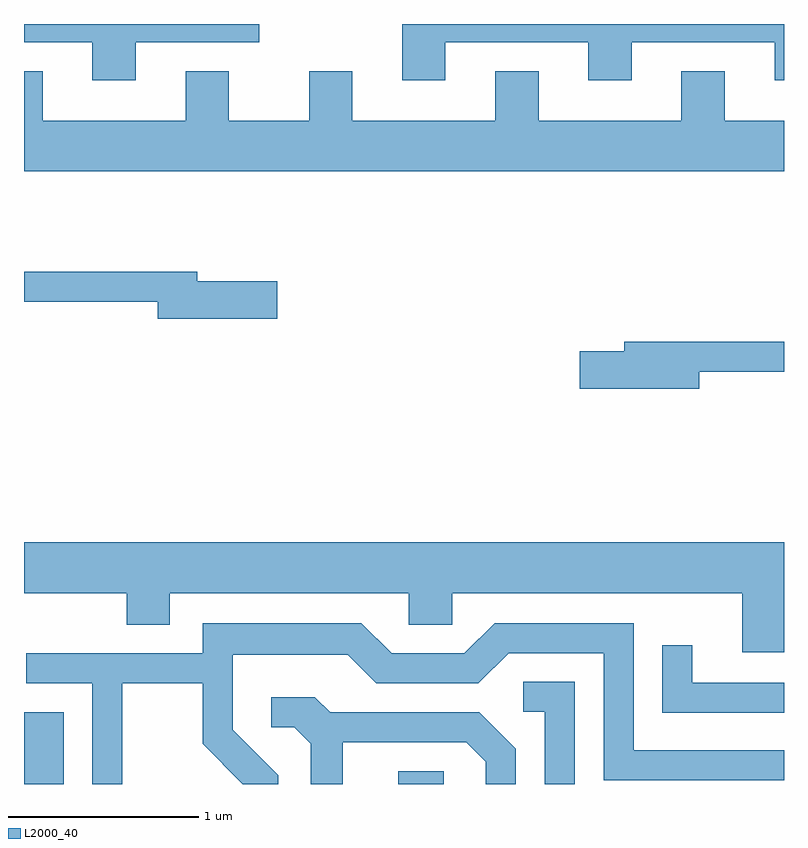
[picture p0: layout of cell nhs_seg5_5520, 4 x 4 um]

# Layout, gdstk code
import gdstk
lib = gdstk.Library(unit=1e-6, precision=1e-09)
def R(c, l, rs):  # rectangles x0, y0, x1, y1
    for r in rs: c.add(gdstk.rectangle(r[:2], r[2:], *l))
def P(c, l, *ps):  # polygons
    for p in ps: c.add(gdstk.Polygon(p, *l))
L2000_40 = (2000, 40)

nhs_seg5_5520 = lib.new_cell('nhs_seg5_5520')
R(nhs_seg5_5520, L2000_40, [(349.611,1398.072,349.819,1398.449), (351.581,1398.072,351.819,1398.139)])
P(nhs_seg5_5520, L2000_40, [(350.199,1401.976),(350.849,1401.976),(350.849,1402.072),(349.611,1402.072),(349.611,1401.976),(349.971,1401.976),(349.971,1401.776),(350.199,1401.776)],
  [(351.829,1401.976),(352.581,1401.976),(352.581,1401.776),(352.809,1401.776),(352.809,1401.976),(353.561,1401.976),(353.561,1401.776),(353.611,1401.776),(353.611,1402.072),(351.601,1402.072),(351.601,1401.776),(351.829,1401.776)],
  [(353.611,1401.564),(353.299,1401.564),(353.299,1401.824),(353.071,1401.824),(353.071,1401.564),(352.319,1401.564),(352.319,1401.824),(352.091,1401.824),(352.091,1401.564),(351.339,1401.564),(351.339,1401.824),(351.111,1401.824),(351.111,1401.564),(350.689,1401.564),(350.689,1401.824),(350.461,1401.824),(350.461,1401.564),(349.709,1401.564),(349.709,1401.824),(349.611,1401.824),(349.611,1401.296),(353.611,1401.296)],
  [(350.944,1400.719),(350.524,1400.719),(350.524,1400.769),(349.611,1400.769),(349.611,1400.611),(350.316,1400.611),(350.316,1400.521),(350.944,1400.521)],
  [(353.164,1400.241),(353.611,1400.241),(353.611,1400.399),(352.771,1400.399),(352.771,1400.349),(352.536,1400.349),(352.536,1400.151),(353.164,1400.151)],
  [(353.611,1399.344),(349.611,1399.344),(349.611,1399.076),(350.151,1399.076),(350.151,1398.911),(350.379,1398.911),(350.379,1399.076),(351.636,1399.076),(351.636,1398.911),(351.864,1398.911),(351.864,1399.076),(353.391,1399.076),(353.391,1398.766),(353.611,1398.766)],
  [(350.129,1398.601),(350.551,1398.601),(350.551,1398.284),(350.763,1398.072),(350.949,1398.072),(350.949,1398.117),(350.709,1398.357),(350.709,1398.751),(351.314,1398.751),(351.464,1398.601),(352.002,1398.601),(352.162,1398.761),(352.661,1398.761),(352.661,1398.091),(353.611,1398.091),(353.611,1398.249),(352.819,1398.249),(352.819,1398.919),(352.089,1398.919),(351.929,1398.759),(351.547,1398.759),(351.387,1398.919),(350.551,1398.919),(350.551,1398.759),(349.623,1398.759),(349.623,1398.601),(349.971,1398.601),(349.971,1398.072),(350.129,1398.072)],
  [(353.611,1398.604),(353.129,1398.604),(353.129,1398.803),(352.971,1398.803),(352.971,1398.446),(353.611,1398.446)],
  [(352.509,1398.609),(352.238,1398.609),(352.238,1398.451),(352.351,1398.451),(352.351,1398.072),(352.509,1398.072)],
  [(351.289,1398.291),(351.939,1398.291),(352.041,1398.189),(352.041,1398.072),(352.199,1398.072),(352.199,1398.257),(352.007,1398.449),(351.222,1398.449),(351.142,1398.529),(350.913,1398.529),(350.913,1398.371),(351.034,1398.371),(351.121,1398.284),(351.121,1398.072),(351.289,1398.072)])

lib.write_gds('nhs_seg5_5520.gds')
